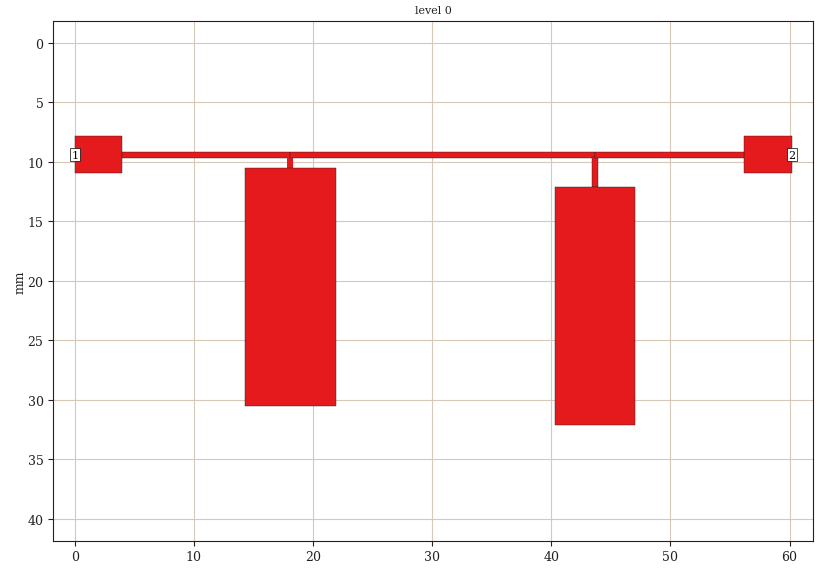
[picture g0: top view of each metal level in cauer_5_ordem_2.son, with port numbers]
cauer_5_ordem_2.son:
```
FTYP SONPROJ 13 ! Sonnet Project File
VER 15.53.lite
HEADER
LIC SL290709.106431 847bebfebdba DESKTOP-1CMJ3DP Arihe
DAT 05/13/2019 03:12:46
BUILT_BY_CREATED xgeom 15.53-Lite 04/13/2019 20:59:13
BUILT_BY_SAVED xgeom 15.53-Lite
MDATE 05/13/2019 03:12:46
HDATE 05/13/2019 03:12:46
END HEADER
DIM
FREQ GHZ
RSVY OHMM
IND NH
LNG MM
ANG DEG
CON /OH
CAP PF
RES OH
END DIM
FREQ
ABS 1.0e-9 3.0 
END FREQ
CONTROL
ABS
OPTIONS  -dj 
SPEED 0
CACHE_ABS 1
TARG_ABS 300
Q_ACC N
END CONTROL
GEO
DRP1 LEFT LINK
POLY 12 1
1
DRP1 RIGHT LINK
POLY 14 1
0
TMET "Lossless" 0 SUP 0 0 0 0
BMET "Lossless" 0 SUP 0 0 0 0
MET "Copper" 1 NOR 58000000 0 0.0347 
BOX 1 60.2 40 1204 800 20 0
      20 1 1 0 0 0 0 "Air"
      1.5306 4.1 1 0.02 0 0 0 "FR-4"
LORGN 0 40 U 
POR1 STD
POLY 12 1
3
1 50 0 0 0 6.250004958e-010 9.425 
POR1 STD
POLY 14 1
1
2 50 0 0 0 60.2 9.425 
NUM 9
0 5 0 N 12 1 1 100 100 0 0 0 Y
6.250004958e-010 7.875
4.000000001 7.875
4.000000001 10.975
6.250004958e-010 10.975
6.250004958e-010 7.875
END
0 5 0 N 14 1 1 100 100 0 0 0 Y
56.2 7.875
60.2 7.875
60.2 10.975
56.2 10.975
56.2 7.875
END
0 5 0 N 16 1 1 100 100 0 0 0 Y
3.999999998 9.175
18.1 9.175
18.1 9.675
3.999999998 9.675
3.999999998 9.175
END
0 5 0 N 17 1 1 100 100 0 0 0 Y
17.8 9.625
18.3 9.625
18.3 10.525
17.8 10.525
17.8 9.625
END
0 5 0 N 18 1 1 100 100 0 0 0 Y
18.1 9.175
43.7 9.175
43.7 9.675
18.1 9.675
18.1 9.175
END
0 5 0 N 19 1 1 100 100 0 0 0 Y
43.4 9.625
43.9 9.625
43.9 12.125
43.4 12.125
43.4 9.625
END
0 5 0 N 20 1 1 100 100 0 0 0 Y
14.3 10.525
21.9 10.525
21.9 30.525
14.3 30.525
14.3 10.525
END
0 5 0 N 21 1 1 100 100 0 0 0 Y
40.3 12.125
47 12.125
47 32.125
40.3 32.125
40.3 12.125
END
0 5 0 N 22 1 1 100 100 0 0 0 Y
43.7 9.2
56.2 9.2
56.2 9.7
43.7 9.7
43.7 9.2
END
END GEO
OPT
MAX 100
VARS
END
END OPT
VARSWP
END VARSWP
QSG
IMPORT NO
EXTRA_METAL NO
UNITS YES
ALIGN NO
REF NO
VIEW_RES NO
METALS YES
USED NO
END QSG
```
